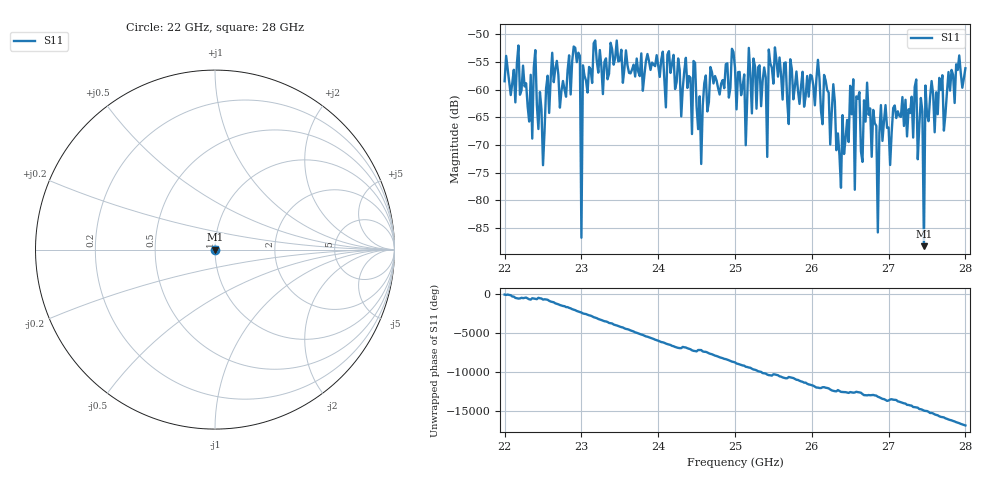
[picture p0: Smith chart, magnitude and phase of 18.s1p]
#  HZ  S  RI  R  50.00
! Rohde & Schwarz ZVA40 4Ports - Version 3.90 - 1145.1110k42 SN: 100403
! Date: 2023-10-04 08:11:59
! Measurement: S12
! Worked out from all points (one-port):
!   301 points, 22 GHz to 28 GHz, reference 50 ohm
!   lowest |S11| = -88.3 dB at 27.46 GHz (marker M1), VSWR 1.00, Z = 50 + j0.00144 ohm
!   |S11| at or under -10 dB: start of sweep to end of sweep
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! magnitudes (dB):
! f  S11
! 22 GHz  -58.5
! 22.36 GHz  -68.8
! 22.4 GHz  -52.8
! 22.5 GHz  -73.6
! 22.76 GHz  -58.4
! 22.98 GHz  -53.9
! 23 GHz  -86.7
! 23.02 GHz  -55.6
! 23.5 GHz  -54.7
! 24.26 GHz  -54.3
! 24.56 GHz  -73.4
! 24.62 GHz  -57.4
! 25 GHz  -56.0
! 25.76 GHz  -61.7
! 26.28 GHz  -59.0
! 26.38 GHz  -77.7
! 26.5 GHz  -59.3
! 26.54 GHz  -58.1
! 26.56 GHz  -78.1
! 26.58 GHz  -61.2
! 26.72 GHz  -58.7
! 26.86 GHz  -85.8
! 26.9 GHz  -62.8
! 27.26 GHz  -63.5
! 27.42 GHz  -61.5
! 27.46 GHz  -88.3
! 27.48 GHz  -59.2
! 28 GHz  -56.1
